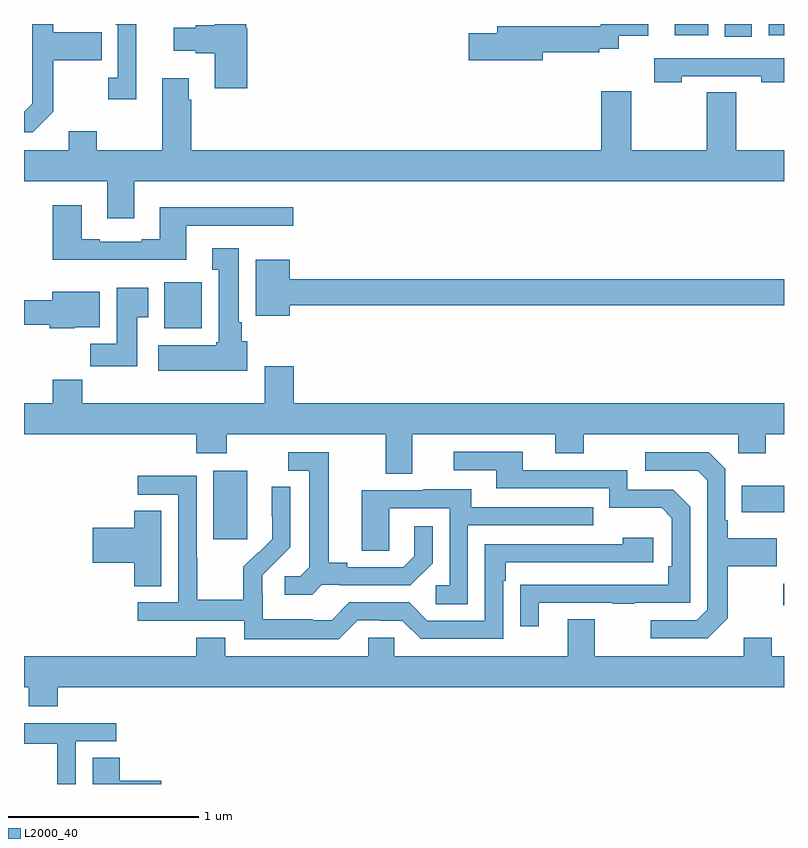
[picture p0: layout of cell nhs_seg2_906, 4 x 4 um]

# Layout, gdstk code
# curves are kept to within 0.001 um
import gdstk
lib = gdstk.Library(unit=1e-6, precision=1e-09)
def R(c, l, rs):  # rectangles x0, y0, x1, y1
    for r in rs: c.add(gdstk.rectangle(r[:2], r[2:], *l))
def P(c, l, *ps):  # polygons
    for p in ps: c.add(gdstk.Polygon(p, *l))
L2000_40 = (2000, 40)

nhs_seg2_906 = lib.new_cell('nhs_seg2_906')
R(nhs_seg2_906, L2000_40, [(160.995,642.741,161,642.854), (157.997,643.089,158.176,643.45), (160.777,643.229,161,643.369), (157.739,644.198,157.936,644.44), (160.688,645.732,160.831,645.8), (160.424,645.74,160.6,645.8), (160.919,645.74,161,645.8)])
P(nhs_seg2_906, L2000_40, [(159.73,645.652),(160.028,645.652),(160.028,645.67),(160.131,645.67),(160.131,645.737),(160.285,645.737),(160.285,645.8),(160.035,645.8),(160.035,645.788),(159.491,645.788),(159.491,645.752),(159.342,645.752),(159.342,645.61),(159.73,645.61)],
  [(157.592,645.8),(157.482,645.8),(157.482,645.797),(157.494,645.797),(157.494,645.518),(157.443,645.518),(157.443,645.405),(157.592,645.405)],
  [(158.176,645.777),(158.171,645.777),(158.171,645.8),(158.003,645.8),(158.003,645.794),(157.904,645.794),(157.904,645.781),(157.788,645.781),(157.788,645.659),(157.904,645.659),(157.904,645.647),(158.003,645.647),(158.003,645.462),(158.176,645.462)],
  [(157.153,645.337),(157.153,645.61),(157.409,645.61),(157.409,645.757),(157.153,645.757),(157.153,645.8),(157.044,645.8),(157.044,645.381),(157,645.337),(157,645.231),(157.047,645.231)],
  [(160.461,645.525),(160.881,645.525),(160.881,645.493),(161,645.493),(161,645.621),(160.317,645.621),(160.317,645.493),(160.461,645.493)],
  [(157.579,644.972),(161,644.972),(161,645.136),(160.748,645.136),(160.748,645.44),(160.594,645.44),(160.594,645.136),(160.197,645.136),(160.197,645.445),(160.037,645.445),(160.037,645.136),(157.88,645.136),(157.88,645.401),(157.867,645.401),(157.867,645.514),(157.727,645.514),(157.727,645.136),(157.383,645.136),(157.383,645.235),(157.235,645.235),(157.235,645.136),(157,645.136),(157,644.972),(157.439,644.972),(157.439,644.778),(157.579,644.778)],
  [(157.855,644.739),(158.416,644.739),(158.416,644.836),(157.715,644.836),(157.715,644.668),(157.619,644.668),(157.619,644.655),(157.399,644.655),(157.399,644.668),(157.303,644.668),(157.303,644.845),(157.151,644.845),(157.151,644.558),(157.855,644.558)],
  [(158.176,644.13),(158.146,644.13),(158.146,644.23),(158.131,644.23),(158.131,644.62),(157.991,644.62),(157.991,644.507),(158.024,644.507),(158.024,644.124),(158.011,644.124),(158.011,644.11),(157.707,644.11),(157.707,643.976),(158.176,643.976)],
  [(158.398,644.32),(161,644.32),(161,644.456),(158.398,644.456),(158.398,644.56),(158.219,644.56),(158.219,644.264),(158.398,644.264)],
  [(157.597,644.257),(157.654,644.257),(157.654,644.413),(157.487,644.413),(157.487,644.116),(157.348,644.116),(157.348,643.998),(157.597,643.998)],
  [(157.266,644.204),(157.399,644.204),(157.399,644.392),(157.148,644.392),(157.148,644.345),(157,644.345),(157,644.217),(157.136,644.217),(157.136,644.198),(157.266,644.198)],
  [(159.043,643.64),(159.797,643.64),(159.797,643.541),(159.945,643.541),(159.945,643.64),(160.758,643.64),(160.758,643.541),(160.905,643.541),(160.905,643.64),(161,643.64),(161,643.804),(158.42,643.804),(158.42,643.999),(158.267,643.999),(158.267,643.804),(157.307,643.804),(157.307,643.928),(157.151,643.928),(157.151,643.804),(157,643.804),(157,643.64),(157.907,643.64),(157.907,643.541),(158.067,643.541),(158.067,643.64),(158.903,643.64),(158.903,643.432),(159.043,643.432)],
  [(159.709,642.753),(160.099,642.753),(160.099,642.748),(160.211,642.748),(160.211,642.753),(160.506,642.753),(160.506,643.26),(160.416,643.35),(160.176,643.35),(160.176,643.452),(159.625,643.452),(159.625,643.548),(159.261,643.548),(159.261,643.452),(159.485,643.452),(159.485,643.356),(160.08,643.356),(160.08,643.253),(160.357,643.253),(160.41,643.2),(160.41,642.946),(160.39,642.946),(160.39,642.849),(159.613,642.848),(159.613,642.63),(159.709,642.63)],
  [(158.568,642.849),(158.662,642.849),(158.662,642.846),(159.034,642.846),(159.15,642.962),(159.15,643.156),(159.053,643.156),(159.053,642.999),(158.996,642.942),(158.701,642.942),(158.701,642.965),(158.605,642.965),(158.605,643.545),(158.391,643.545),(158.391,643.449),(158.501,643.449),(158.501,642.941),(158.454,642.894),(158.373,642.894),(158.373,642.797),(158.516,642.797)],
  [(160.705,642.673),(160.705,642.946),(160.961,642.946),(160.961,643.093),(160.705,643.093),(160.705,643.189),(160.692,643.189),(160.692,643.458),(160.605,643.545),(160.269,643.545),(160.269,643.449),(160.545,643.449),(160.596,643.398),(160.596,642.717),(160.542,642.663),(160.299,642.663),(160.299,642.567),(160.599,642.567)],
  [(158.757,642.663),(158.873,642.663),(158.873,642.66),(158.991,642.66),(159.087,642.564),(159.522,642.564),(159.522,642.869),(159.535,642.869),(159.535,642.966),(160.312,642.966),(160.312,643.096),(160.151,643.096),(160.151,643.062),(159.426,643.062),(159.426,642.66),(159.123,642.66),(159.027,642.756),(158.712,642.756),(158.619,642.663),(158.519,642.663),(158.519,642.667),(158.256,642.667),(158.256,642.801),(158.254,642.801),(158.254,642.898),(158.4,643.046),(158.4,643.364),(158.304,643.364),(158.304,643.21),(158.306,643.21),(158.306,643.088),(158.235,643.017),(158.232,643.02),(158.155,642.943),(158.155,642.769),(157.911,642.769),(157.911,642.992),(157.908,642.992),(157.908,643.422),(157.599,643.422),(157.599,643.323),(157.812,643.323),(157.812,642.756),(157.599,642.756),(157.599,642.66),(158.16,642.66),(158.16,642.563),(158.657,642.563)],
  [(159.336,643.161),(159.995,643.161),(159.995,643.257),(159.355,643.257),(159.355,643.351),(159.101,643.351),(159.101,643.347),(158.777,643.347),(158.777,643.027),(158.922,643.027),(158.922,643.251),(159.24,643.251),(159.24,642.846),(159.168,642.846),(159.168,642.745),(159.336,642.745)],
  [(157.723,643.238),(157.58,643.238),(157.58,643.148),(157.362,643.148),(157.362,642.965),(157.58,642.965),(157.58,642.841),(157.723,642.841)],
  [(157.178,642.308),(161,642.308),(161,642.472),(160.935,642.472),(160.935,642.571),(160.787,642.571),(160.787,642.472),(160.003,642.472),(160.003,642.667),(159.863,642.667),(159.863,642.472),(158.949,642.472),(158.949,642.57),(158.811,642.57),(158.811,642.472),(158.059,642.472),(158.059,642.571),(157.907,642.571),(157.907,642.472),(157,642.472),(157,642.308),(157.025,642.308),(157.025,642.209),(157.178,642.209)],
  [(157.272,642.024),(157.486,642.024),(157.486,642.12),(157,642.12),(157,642.012),(157.174,642.012),(157.174,641.8),(157.272,641.8)],
  [(157.723,641.816),(157.505,641.816),(157.505,641.939),(157.361,641.939),(157.361,641.8),(157.723,641.8)])

lib.write_gds('nhs_seg2_906.gds')
